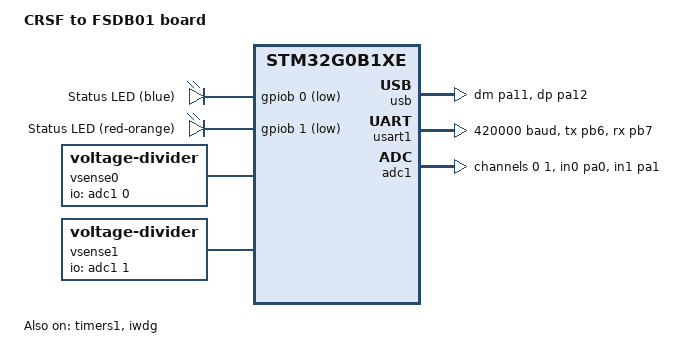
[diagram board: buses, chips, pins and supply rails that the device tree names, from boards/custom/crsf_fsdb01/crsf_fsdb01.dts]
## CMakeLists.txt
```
# SPDX-License-Identifier: Apache-2.0

cmake_minimum_required(VERSION 3.20.0)

# Custom board definitions live in ./boards/<vendor>/<board>
list(APPEND BOARD_ROOT ${CMAKE_CURRENT_SOURCE_DIR})

# Build mode, set by the CMake presets: adds debug.conf or release.conf on top
# of prj.conf, for every board
set(APP_BUILD_MODE release CACHE STRING "Build mode: debug or release")
set_property(CACHE APP_BUILD_MODE PROPERTY STRINGS debug release)
if(NOT APP_BUILD_MODE MATCHES "^(debug|release)$")
  message(FATAL_ERROR "APP_BUILD_MODE must be debug or release, not '${APP_BUILD_MODE}'")
endif()
list(APPEND EXTRA_CONF_FILE ${CMAKE_CURRENT_SOURCE_DIR}/${APP_BUILD_MODE}.conf)

find_package(Zephyr REQUIRED HINTS $ENV{ZEPHYR_BASE})
project(crsf_to_fsdb01)

target_sources(app PRIVATE 
    src/main.cpp
    src/bootloader.cpp
    src/control.cpp
    src/crsf.cpp
    src/crsf_parser.cpp
    src/mapping.cpp
    src/shell_crsf.cpp
    src/shell_dfu.cpp
    src/shell_leds.cpp
    src/shell_voltage.cpp
)

# In-tree drivers; bindings are in dts/bindings, Kconfig in drivers/
add_subdirectory(drivers)
target_include_directories(app PRIVATE drivers/fsdb01)
```

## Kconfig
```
# SPDX-License-Identifier: Apache-2.0

menu "Application drivers"
rsource "drivers/Kconfig"
endmenu

source "Kconfig.zephyr"
```

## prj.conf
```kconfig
# C++23 with the full GNU C++ standard library (no exceptions/RTTI)
CONFIG_CPP=y
CONFIG_STD_CPP23=y
CONFIG_REQUIRES_FULL_LIBCPP=y

CONFIG_GPIO=y
CONFIG_SERIAL=y
# CRSF input is read in the UART ISR
CONFIG_UART_INTERRUPT_DRIVEN=y

# sys_reboot(), used to reboot into the USB DFU bootloader
CONFIG_REBOOT=y

# Logging and CLI
CONFIG_LOG=y
CONFIG_SHELL=y
CONFIG_SHELL_PROMPT_UART="> "

# Disabling some default shell commands
CONFIG_DATE_SHELL=n
CONFIG_SHELL_VT100_COMMANDS=n
CONFIG_SHELL_CMDS_RETURN_VALUE=n
CONFIG_KERNEL_SHELL=n
CONFIG_DEVICE_SHELL=n
CONFIG_DEVMEM_SHELL=n

# USB device stack with CDC ACM as console/shell backend
CONFIG_USB_DEVICE_STACK_NEXT=y
CONFIG_USBD_CDC_ACM_CLASS=y
CONFIG_CDC_ACM_SERIAL_INITIALIZE_AT_BOOT=y
CONFIG_CDC_ACM_SERIAL_MANUFACTURER_STRING="Custom"
CONFIG_CDC_ACM_SERIAL_PRODUCT_STRING="CRSF to FSDB01"
CONFIG_UART_LINE_CTRL=y

# The USB stack logs a warning when Zephyr's test VID/PID is used
CONFIG_USBD_LOG_LEVEL_ERR=y
# CDC ACM can't log to itself when it is the console backend
CONFIG_USBD_CDC_ACM_LOG_LEVEL_OFF=y

# ADC voltage sensing through the voltage-divider sensor driver
CONFIG_ADC=y
CONFIG_SENSOR=y
```

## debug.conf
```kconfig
# Kconfig for debug builds, added on top of prj.conf for every board by
# presets that set APP_BUILD_MODE=debug (see CMakeLists.txt)

# No optimization (-O0). With -Og, one source line often compiles to several
# copies, and each copy needs one of the Cortex-M0+'s only 4 hardware
# breakpoints. At -O0 every line maps to one address.
CONFIG_NO_OPTIMIZATIONS=y
CONFIG_DEBUG_THREAD_INFO=y

# Unoptimized code needs more stack: catch overflows with an MPU stack guard
CONFIG_HW_STACK_PROTECTION=y

# Stacks that overflow at -O0 (default sizes are for optimized code)
CONFIG_UDC_STM32_STACK_SIZE=1024
CONFIG_MAIN_STACK_SIZE=2048
CONFIG_USBD_THREAD_STACK_SIZE=2048
CONFIG_SHELL_STACK_SIZE=3072

# Enable debugging shell commands
CONFIG_SHELL_PROMPT_UART="DBG > "
CONFIG_KERNEL_SHELL=y
CONFIG_DEVICE_SHELL=y
CONFIG_DEVMEM_SHELL=y
CONFIG_SHELL_VT100_COMMANDS=y
```

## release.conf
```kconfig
# Kconfig for release builds, added on top of prj.conf for every board by
# presets that set APP_BUILD_MODE=release (see CMakeLists.txt)
```

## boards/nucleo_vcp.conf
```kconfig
# Extra Kconfig for the nucleo-vcp development build, applied on top of
# prj.conf by the nucleo-vcp preset (EXTRA_CONF_FILE)

# Optimize for debugging (-Og)
CONFIG_DEBUG_OPTIMIZATIONS=y
CONFIG_DEBUG_THREAD_INFO=y
```

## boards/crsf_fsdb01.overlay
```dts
/*
 * SPDX-License-Identifier: Apache-2.0
 */

#include "usb_console.dtsi"
```

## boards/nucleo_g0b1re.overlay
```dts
/*
 * NUCLEO-G0B1RE
 *
 * Console/shell on USB CDC ACM via an external USB connector wired to
 * PA12 = D+ (CN10-12), PA11 = D- (CN10-14) and GND.
 * CRSF link on USART1: PC4 = TX (Arduino D1), PC5 = RX (Arduino D0).
 * FS-DB01 signal out: PA10 (Arduino D2, TIM1_CH3), placeholder.
 * Voltage sense inputs: PA0 (Arduino A0) and PA1 (Arduino A1) on ADC1.
 *
 * SPDX-License-Identifier: Apache-2.0
 */

#include <zephyr/dt-bindings/adc/adc.h>

#include "usb_console.dtsi"

/ {
	/* TODO: placeholder pin, FS-DB01 output not assigned yet */
	fsdb01: fsdb01 {
		compatible = "flysky,fsdb01";
		timer = <&timers1>;
		channel = <3>;
		pinctrl-0 = <&tim1_ch3_pa10>;
		pinctrl-names = "default";
	};

	/* Input voltage dividers: 100k over 33k, ratio 33/133 = 0.248 */
	vsense0: vsense0 {
		compatible = "voltage-divider";
		io-channels = <&adc1 0>;
		output-ohms = <33000>;
		full-ohms = <(100000 + 33000)>;
	};

	vsense1: vsense1 {
		compatible = "voltage-divider";
		io-channels = <&adc1 1>;
		output-ohms = <33000>;
		full-ohms = <(100000 + 33000)>;
	};

	aliases {
		crsf-uart = &usart1;
		fsdb01 = &fsdb01;
		vsense0 = &vsense0;
		vsense1 = &vsense1;
	};
};

&usart1 {
	current-speed = <420000>;
	/* RX FIFO: without it, ISR latency over ~24 us (one byte) overruns */
	fifo-enable;
};

/* Used directly by the FS-DB01 driver; its pwm and counter children stay disabled */
&timers1 {
	status = "okay";
};

/* PA0/PA1 pinctrl, clock and status come from the stock board */
&adc1 {
	#address-cells = <1>;
	#size-cells = <0>;

	/* Max sampling time (160.5 cycles, 10 us): the dividers' source impedance is ~25k */
	channel@0 {
		reg = <0>;
		zephyr,gain = "ADC_GAIN_1";
		zephyr,reference = "ADC_REF_INTERNAL";
		zephyr,acquisition-time = <ADC_ACQ_TIME_MAX>;
		zephyr,resolution = <12>;
	};

	channel@1 {
		reg = <1>;
		zephyr,gain = "ADC_GAIN_1";
		zephyr,reference = "ADC_REF_INTERNAL";
		zephyr,acquisition-time = <ADC_ACQ_TIME_MAX>;
		zephyr,resolution = <12>;
	};
};

/* PA11/PA12 are used by USB; release them from I2C2 and FDCAN1 */
&i2c2 {
	status = "disabled";
};

&fdcan1 {
	status = "disabled";
};
```

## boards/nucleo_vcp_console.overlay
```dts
/*
 * NUCLEO-G0B1RE development option: console and shell on USART2, which is
 * wired to the ST-LINK virtual COM port (PA2/PA3), instead of USB CDC ACM.
 * Applied on top of nucleo_g0b1re.overlay by the nucleo-vcp preset.
 *
 * SPDX-License-Identifier: Apache-2.0
 */

/ {
	chosen {
		zephyr,console = &usart2;
		zephyr,shell-uart = &usart2;
	};
};
```

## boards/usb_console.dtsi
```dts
/*
 * Console and shell over USB CDC ACM on the MCU's own USB pins (PA11/PA12).
 * Included from the per-board overlays.
 *
 * SPDX-License-Identifier: Apache-2.0
 */

/ {
	chosen {
		zephyr,console = &cdc_acm_uart0;
		zephyr,shell-uart = &cdc_acm_uart0;
	};
};

&zephyr_udc0 {
	cdc_acm_uart0: cdc_acm_uart0 {
		compatible = "zephyr,cdc-acm-uart";
	};
};
```

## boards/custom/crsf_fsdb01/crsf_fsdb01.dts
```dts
/*
 * Custom board with STM32G0B1CET6 (LQFP48, 512 KiB flash, 144 KiB RAM)
 *
 * SPDX-License-Identifier: Apache-2.0
 */

/dts-v1/;
#include <st/g0/stm32g0b1Xe.dtsi>
#include <st/g0/stm32g0b1c(b-c-e)tx-pinctrl.dtsi>
#include <zephyr/dt-bindings/adc/adc.h>

/ {
	model = "CRSF to FSDB01 board";
	compatible = "custom,crsf-fsdb01";

	chosen {
		zephyr,sram = &sram0;
		zephyr,flash = &flash0;
	};

	/* Pin assignments match schematic rev. 1 */
	/* Anode to 3V3 through a resistor, cathode sunk by the GPIO */
	leds: leds {
		compatible = "gpio-leds";

		blue_led: led_0 {
			gpios = <&gpiob 0 GPIO_ACTIVE_LOW>;
			label = "Status LED (blue)";
		};

		red_orange_led: led_1 {
			gpios = <&gpiob 1 GPIO_ACTIVE_LOW>;
			label = "Status LED (red-orange)";
		};
	};

	/* FS-DB01 signal on PA8, generated by TIM1 channel 1 */
	fsdb01: fsdb01 {
		compatible = "flysky,fsdb01";
		timer = <&timers1>;
		channel = <1>;
		pinctrl-0 = <&tim1_ch1_pa8>;
		pinctrl-names = "default";
	};

	/* Input voltage dividers: 100k over 33k, ratio 33/133 = 0.248 */
	vsense0: vsense0 {
		compatible = "voltage-divider";
		io-channels = <&adc1 0>;
		output-ohms = <33000>;
		full-ohms = <(100000 + 33000)>;
	};

	vsense1: vsense1 {
		compatible = "voltage-divider";
		io-channels = <&adc1 1>;
		output-ohms = <33000>;
		full-ohms = <(100000 + 33000)>;
	};

	aliases {
		fsdb01 = &fsdb01;
		vsense0 = &vsense0;
		vsense1 = &vsense1;
		led0 = &blue_led;
		led1 = &red_orange_led;
		crsf-uart = &usart1;
		watchdog0 = &iwdg;
	};
};

&clk_lsi {
	status = "okay";
};

&clk_hsi {
	status = "okay";
};

/* No crystal: USB is clocked from HSI48, trimmed against USB SOF by the CRS */
&clk_hsi48 {
	status = "okay";
	crs-usb-sof;
};

/* 64 MHz SYSCLK from the 16 MHz HSI */
&pll {
	div-m = <1>;
	mul-n = <8>;
	div-p = <2>;
	div-q = <2>;
	div-r = <2>;
	clocks = <&clk_hsi>;
	status = "okay";
};

&rcc {
	clocks = <&pll>;
	clock-frequency = <DT_FREQ_M(64)>;
	ahb-prescaler = <1>;
	apb1-prescaler = <1>;
};

zephyr_udc0: &usb {
	pinctrl-0 = <&usb_dm_pa11 &usb_dp_pa12>;
	pinctrl-names = "default";
	status = "okay";
};

/* CRSF link: 420000 baud, 8N1. Only RX (PB7) is wired on the board; PB6 TX is unconnected */
&usart1 {
	pinctrl-0 = <&usart1_tx_pb6 &usart1_rx_pb7>;
	pinctrl-names = "default";
	current-speed = <420000>;
	/* RX FIFO: without it, ISR latency over ~24 us (one byte) overruns */
	fifo-enable;
	status = "okay";
};

/* Voltage sense inputs: PA0 (IN0) and PA1 (IN1); ADC clock 64 MHz / 4 = 16 MHz */
&adc1 {
	pinctrl-0 = <&adc1_in0_pa0 &adc1_in1_pa1>;
	pinctrl-names = "default";
	st,adc-clock-source = "SYNC";
	st,adc-prescaler = <4>;
	status = "okay";
	#address-cells = <1>;
	#size-cells = <0>;

	/* Max sampling time (160.5 cycles, 10 us): the dividers' source impedance is ~25k */
	channel@0 {
		reg = <0>;
		zephyr,gain = "ADC_GAIN_1";
		zephyr,reference = "ADC_REF_INTERNAL";
		zephyr,acquisition-time = <ADC_ACQ_TIME_MAX>;
		zephyr,resolution = <12>;
	};

	channel@1 {
		reg = <1>;
		zephyr,gain = "ADC_GAIN_1";
		zephyr,reference = "ADC_REF_INTERNAL";
		zephyr,acquisition-time = <ADC_ACQ_TIME_MAX>;
		zephyr,resolution = <12>;
	};
};

/* Used directly by the FS-DB01 driver; its pwm and counter children stay disabled */
&timers1 {
	status = "okay";
};

&iwdg {
	status = "okay";
};
```

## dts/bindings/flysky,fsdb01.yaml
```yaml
# SPDX-License-Identifier: Apache-2.0

description: |
  FlySky FS-DB01 LED control module, driven over its proprietary
  single-wire, pulse-width-coded protocol (9-bit frames, 3 ms bit cells).

  The waveform is generated in hardware by an STM32 timer channel in PWM
  mode, so the edges don't depend on interrupt latency. The timer must not
  be used by anything else (keep its pwm and counter child nodes disabled).

  Example:

    fsdb01: fsdb01 {
        compatible = "flysky,fsdb01";
        timer = <&timers1>;
        channel = <3>;
        pinctrl-0 = <&tim1_ch3_pa10>;
        pinctrl-names = "default";
    };

compatible: "flysky,fsdb01"

include: pinctrl-device.yaml

properties:
  timer:
    type: phandle
    required: true
    description: |
      STM32 timer (st,stm32-timers node) that generates the signal. Its
      update interrupt must be named "brk_up_trg_com" (TIM1 on STM32G0).

  channel:
    type: int
    required: true
    enum: [1, 2, 3, 4]
    description: |
      Timer output channel connected to the signal line. pinctrl-0 must
      route this channel to the pin.

  pinctrl-0:
    required: true

  pinctrl-names:
    required: true

  invert:
    type: boolean
    description: |
      Invert every level driven on the line: frames, the inter-frame gap,
      the disabled state and the level at boot. Use this when the signal
      goes through an inverting level shifter.
```

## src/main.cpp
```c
/*
 * SPDX-License-Identifier: Apache-2.0
 */

#include <zephyr/device.h>
#include <zephyr/drivers/gpio.h>
#include <zephyr/kernel.h>
#include <zephyr/logging/log.h>

#include "control.h"
#include "crsf.h"
#include "fsdb01.h"

LOG_MODULE_REGISTER(main, LOG_LEVEL_INF);

namespace {

constexpr gpio_dt_spec led = GPIO_DT_SPEC_GET(DT_ALIAS(led0), gpios);
const device* const crsf_uart = DEVICE_DT_GET(DT_ALIAS(crsf_uart));
const device* const fsdb01 = DEVICE_DT_GET(DT_ALIAS(fsdb01));

}  // namespace

int main() {
    if (!gpio_is_ready_dt(&led) || gpio_pin_configure_dt(&led, GPIO_OUTPUT_ACTIVE) < 0) {
        LOG_ERR("LED not available");
        return 0;
    }

    if (int ret = crsf::start(crsf_uart); ret < 0) {
        LOG_ERR("CRSF on %s failed to start (%d)", crsf_uart->name, ret);
        return 0;
    }

    if (!device_is_ready(fsdb01)) {
        LOG_ERR("FS-DB01 %s not ready", fsdb01->name);
        return 0;
    }
    if (int ret = control::start(fsdb01); ret < 0) {
        LOG_ERR("Control failed to start (%d)", ret);
        return 0;
    }

    LOG_INF("Running on %s, CRSF on %s (C++ %ld)", CONFIG_BOARD_TARGET, crsf_uart->name,
            __cplusplus);

    while (true) {
        gpio_pin_toggle_dt(&led);
        k_msleep(500);
    }
}
```

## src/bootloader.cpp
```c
/*
 * Reboot into the STM32 system bootloader (USB DFU)
 *
 * Jumping straight from the running application would leave clocks, USB and
 * interrupts configured, which the bootloader doesn't expect. Instead, set a
 * marker in RAM that survives a reset, reboot, and jump very early in the next
 * boot, while the chip is still close to its reset state.
 *
 * SPDX-License-Identifier: Apache-2.0
 */

#include "bootloader.h"

#include <cmsis_core.h>
#include <stm32_ll_bus.h>
#include <stm32_ll_system.h>
#include <zephyr/init.h>
#include <zephyr/linker/section_tags.h>
#include <zephyr/sys/reboot.h>

#include <cstdint>

namespace {

// System memory (built-in bootloader) of the STM32G0B1, see RM0444 and AN2606
constexpr uintptr_t system_memory_base = 0x1FFF0000;

constexpr uint32_t bootloader_magic = 0xB007'1DF0;

// Not cleared at startup, so the value survives the reboot
__noinit uint32_t boot_request;

[[noreturn]] void jump_to_system_bootloader() {
    const auto* vectors = reinterpret_cast<const volatile uint32_t*>(system_memory_base);
    uint32_t stack = vectors[0];
    auto entry = reinterpret_cast<void (*)()>(vectors[1]);

    /*
     * Zephyr enables the MPU before PRE_KERNEL_1. Its static regions make flash
     * read-only and SRAM non-executable, so the bootloader would fault on its
     * first flash write.
     */
    MPU->CTRL = 0;
    __DSB();
    __ISB();

    // Map system memory at address 0 and point the vector table at it
    LL_APB2_GRP1_EnableClock(LL_APB2_GRP1_PERIPH_SYSCFG);
    LL_SYSCFG_SetRemapMemory(LL_SYSCFG_REMAP_SYSTEMFLASH);
    SCB->VTOR = system_memory_base;

    /*
     * Restore the reset state of the core: Zephyr runs on PSP with interrupts
     * locked by now. No interrupts are enabled in the NVIC and SysTick isn't
     * running yet, so unmasking is safe.
     */
    __set_MSP(stack);
    __set_CONTROL(0);
    __ISB();
    __enable_irq();

    entry();
    __builtin_unreachable();
}

// Runs before the clock driver (PRE_KERNEL_1, priority 1) reconfigures the clocks
int check_boot_request() {
    if (boot_request == bootloader_magic) {
        boot_request = 0;
        jump_to_system_bootloader();
    }
    return 0;
}

SYS_INIT(check_boot_request, PRE_KERNEL_1, 0);

}  // namespace

void bootloader_reboot() {
    boot_request = bootloader_magic;
    sys_reboot(SYS_REBOOT_WARM);
}
```

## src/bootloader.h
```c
/*
 * Reboot into the STM32 system bootloader (USB DFU)
 *
 * SPDX-License-Identifier: Apache-2.0
 */

#pragma once

/**
 * Reboot into ST's built-in system bootloader. It enumerates on USB as
 * 0483:df11 (DFU), so new firmware can be loaded with dfu-util. Does not
 * return.
 */
[[noreturn]] void bootloader_reboot();
```

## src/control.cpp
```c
/*
 * Control thread: CRSF channels to FS-DB01 frames, with failsafe
 *
 * Polls the latest CRSF status every 10 ms. The FS-DB01 sends a frame every
 * 30 ms and latches the newest one at each frame start, so polling is enough.
 *
 * SPDX-License-Identifier: Apache-2.0
 */

#include "control.h"

#include <zephyr/kernel.h>
#include <zephyr/logging/log.h>
#include <zephyr/sys/atomic.h>

#include "crsf.h"
#include "mapping.h"
#include "thread_constants.h"

LOG_MODULE_REGISTER(control, LOG_LEVEL_INF);

namespace control {

namespace {

constexpr int poll_ms = 10;
constexpr size_t stack_size = kThreadStackSizeDefault;
constexpr int priority = kThreadPriorityHigh;

K_THREAD_STACK_DEFINE(stack, stack_size);
k_thread thread;

const device* output;
atomic_t manual_mode;
atomic_t link_state;

bool channels_fresh(const crsf::Status& status) {
    return status.channels_ticks != 0 &&
           k_ticks_to_ms_floor64(k_uptime_ticks() - status.channels_ticks) < link_timeout_ms;
}

void run(void*, void*, void*) {
    bool was_up = false;

    while (true) {
        const crsf::Status status = crsf::get_status();
        const bool up = channels_fresh(status);

        if (up != was_up) {
            if (up) {
                LOG_INF("Link up");
            } else {
                LOG_WRN("Link lost: no RC frames for %lld ms", link_timeout_ms);
            }
            atomic_set(&link_state, up);
            was_up = up;
        }

        if (!atomic_get(&manual_mode)) {
            uint16_t frame = up ? mapping::map_channels(status.channels, mapping::default_rules())
                                : failsafe_frame;
            fsdb01_set_frame(output, frame);
        }

        k_msleep(poll_ms);
    }
}

}  // namespace

int start(const device* fsdb01) {
    output = fsdb01;

    fsdb01_set_frame(output, failsafe_frame);
    int ret = fsdb01_enable(output);
    if (ret < 0) {
        LOG_ERR("Can't enable FS-DB01 output (%d)", ret);
        return ret;
    }

    k_thread_create(&thread, stack, K_THREAD_STACK_SIZEOF(stack), run, nullptr, nullptr, nullptr,
                    priority, 0, K_NO_WAIT);
    k_thread_name_set(&thread, "control");
    return 0;
}

bool link_up() { return atomic_get(&link_state) != 0; }

void set_manual(bool manual) { atomic_set(&manual_mode, manual); }

bool is_manual() { return atomic_get(&manual_mode) != 0; }

}  // namespace control
```

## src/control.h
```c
/*
 * Control thread: CRSF channels to FS-DB01 frames, with failsafe
 *
 * SPDX-License-Identifier: Apache-2.0
 */

#ifndef CONTROL_H_
#define CONTROL_H_

#include <zephyr/device.h>

#include <cstdint>

#include "fsdb01.h"

namespace control {

/* Sent until RC frames arrive, and after the link is lost */
constexpr uint16_t failsafe_frame = FSDB01_NO_SIGNAL_FAST;

/* Link counts as lost when no RC channels frame has arrived for this long */
constexpr int64_t link_timeout_ms = 500;

/* Start the control thread; enables FS-DB01 output with the failsafe frame */
int start(const device* fsdb01);

bool link_up();

/*
 * In manual mode the control thread stops setting frames, so the leds shell
 * commands can set them by hand.
 */
void set_manual(bool manual);
bool is_manual();

}  // namespace control

#endif /* CONTROL_H_ */
```

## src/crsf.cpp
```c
/*
 * CRSF receiver: reads the ELRS receiver's UART and keeps the latest values
 *
 * Bytes are parsed straight in the UART ISR. Only the latest values matter,
 * so there's no queue: each frame overwrites the stored status.
 *
 * SPDX-License-Identifier: Apache-2.0
 */

#include "crsf.h"

#include <zephyr/drivers/uart.h>
#include <zephyr/kernel.h>
#include <zephyr/logging/log.h>
#include <zephyr/spinlock.h>

#include <array>

LOG_MODULE_REGISTER(crsf, LOG_LEVEL_INF);

namespace crsf {

namespace {

/*
 * Longest time a frame may take before a partial one is dropped, as in
 * Betaflight (CRSF_TIME_NEEDED_PER_FRAME_US). A 64-byte frame takes ~1.5 ms at
 * 420000 baud.
 */
constexpr uint32_t frame_timeout_cycles = k_us_to_cyc_ceil32(1750);

// Only touched from the UART ISR
Parser parser{frame_timeout_cycles};

k_spinlock lock;
// Protected by lock
Status status;

void handle_frame(const Frame& frame) {
    switch (static_cast<FrameType>(frame.type)) {
        case FrameType::rc_channels_packed:
            if (decode_channels(frame.payload, status.channels)) {
                status.channels_ticks = k_uptime_ticks();
                status.counters.rc_frames++;
            } else {
                status.counters.bad_payloads++;
            }
            break;

        case FrameType::link_statistics:
            if (decode_link_statistics(frame.payload, status.link)) {
                status.link_ticks = k_uptime_ticks();
                status.counters.link_frames++;
            } else {
                status.counters.bad_payloads++;
            }
            break;

        default:
            status.counters.other_frames++;
            break;
    }
}

void uart_isr(const device* dev, void*) {
    if (!uart_irq_update(dev)) {
        return;
    }

    K_SPINLOCK(&lock) {
        // Check before reading: reading the data clears the overrun flag
        if (uart_err_check(dev) > 0) {
            status.counters.uart_errors++;
        }

        while (uart_irq_rx_ready(dev)) {
            std::array<uint8_t, 16> buf;
            int len = uart_fifo_read(dev, buf.data(), buf.size());
            if (len <= 0) {
                break;
            }

            status.counters.bytes += len;
            uint32_t now = k_cycle_get_32();
            for (int i = 0; i < len; i++) {
                if (auto frame = parser.feed(buf[i], now)) {
                    handle_frame(*frame);
                }
            }
        }

        status.counters.parser = parser.counters();
    }
}

}  // namespace

int start(const device* uart) {
    if (!device_is_ready(uart)) {
        return -ENODEV;
    }

    int ret = uart_irq_callback_user_data_set(uart, uart_isr, nullptr);
    if (ret < 0) {
        LOG_ERR("Can't set UART callback (%d)", ret);
        return ret;
    }

    uart_irq_err_enable(uart);
    uart_irq_rx_enable(uart);
    return 0;
}

Status get_status() {
    Status copy;
    K_SPINLOCK(&lock) { copy = status; }
    return copy;
}

}  // namespace crsf
```

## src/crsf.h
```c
/*
 * CRSF receiver: reads the ELRS receiver's UART and keeps the latest values
 *
 * SPDX-License-Identifier: Apache-2.0
 */

#ifndef CRSF_H_
#define CRSF_H_

#include <zephyr/device.h>

#include <cstdint>

#include "crsf_parser.h"

namespace crsf {

struct Counters {
    // Bytes received on the UART
    uint32_t bytes;
    // UART errors (overrun, framing, noise, ...)
    uint32_t uart_errors;
    // Valid frames, by type
    uint32_t rc_frames;
    uint32_t link_frames;
    uint32_t other_frames;
    // Valid CRC, but the payload doesn't fit the frame type
    uint32_t bad_payloads;
    ParserCounters parser;
};

// A consistent copy of everything received so far
struct Status {
    // Raw 11-bit values from the latest RC channels frame
    Channels channels;
    // k_uptime_ticks() when it arrived; 0 if none has
    int64_t channels_ticks;

    LinkStatistics link;
    // k_uptime_ticks() when the latest link statistics frame arrived; 0 if none has
    int64_t link_ticks;

    Counters counters;
};

/*
 * Start receiving on the CRSF UART. Needs CONFIG_UART_INTERRUPT_DRIVEN. Frames
 * are parsed in the UART ISR.
 */
int start(const device* uart);

// Callable from any context
Status get_status();

}  // namespace crsf

#endif  // CRSF_H_
```

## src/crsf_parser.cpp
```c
/*
 * CRSF (Crossfire / ExpressLRS) frame parser
 *
 * SPDX-License-Identifier: Apache-2.0
 */

#include "crsf_parser.h"

namespace crsf {

namespace {

constexpr uint8_t crc_polynomial = 0xD5;
constexpr unsigned int channel_bits = 11;
constexpr uint32_t channel_mask = (1U << channel_bits) - 1;

constexpr std::array<uint8_t, 256> crc_table = [] {
    std::array<uint8_t, 256> table{};
    for (unsigned int i = 0; i < table.size(); i++) {
        uint8_t crc = i;
        for (int bit = 0; bit < 8; bit++) {
            crc = (crc & 0x80) ? (crc << 1) ^ crc_polynomial : crc << 1;
        }
        table[i] = crc;
    }
    return table;
}();

}  // namespace

uint8_t crc8(std::span<const uint8_t> data) {
    uint8_t crc = 0;
    for (uint8_t byte : data) {
        crc = crc_table[crc ^ byte];
    }
    return crc;
}

bool decode_channels(std::span<const uint8_t> payload, Channels& channels) {
    if (payload.size() != rc_channels_payload_size) {
        return false;
    }

    // 16 x 11 bits = 22 bytes exactly, channel 0 in the lowest bits
    uint32_t acc = 0;
    unsigned int bits = 0;
    auto in = payload.begin();
    for (uint16_t& channel : channels) {
        while (bits < channel_bits) {
            acc |= uint32_t{*in++} << bits;
            bits += 8;
        }
        channel = acc & channel_mask;
        acc >>= channel_bits;
        bits -= channel_bits;
    }
    return true;
}

bool decode_link_statistics(std::span<const uint8_t> payload, LinkStatistics& stats) {
    if (payload.size() < link_statistics_payload_size) {
        return false;
    }

    stats = {
        .uplink_rssi_1 = payload[0],
        .uplink_rssi_2 = payload[1],
        .uplink_lq = payload[2],
        .uplink_snr = static_cast<int8_t>(payload[3]),
        .active_antenna = payload[4],
        .rf_mode = payload[5],
        .uplink_tx_power = payload[6],
        .downlink_rssi = payload[7],
        .downlink_lq = payload[8],
        .downlink_snr = static_cast<int8_t>(payload[9]),
    };
    return true;
}

int channel_to_us(uint16_t value) {
    // Linear through (172, 988) and (1811, 2012), rounded to nearest
    constexpr int span_value = channel_max - channel_min;
    constexpr int span_us = 2012 - 988;
    int n = (value - channel_min) * span_us;
    int rounding = (n >= 0 ? span_value : -span_value) / 2;
    return 988 + (n + rounding) / span_value;
}

std::optional<Frame> Parser::feed(uint8_t byte, uint32_t now) {
    if (pos_ > 0 && now - frame_start_ > frame_timeout_) {
        counters_.timeouts++;
        pos_ = 0;
    }

    if (pos_ == 0) {
        if (byte != sync_byte) {
            return std::nullopt;
        }
        frame_start_ = now;
    } else if (pos_ == 1 && (byte < min_length || byte > max_length)) {
        counters_.length_errors++;
        pos_ = 0;
        return std::nullopt;
    }

    buf_[pos_++] = byte;
    if (pos_ < 2 || pos_ < size_t{buf_[1]} + 2) {
        return std::nullopt;
    }

    // Complete: [sync] [len] [type] [payload ...] [crc]; the CRC covers type + payload
    pos_ = 0;
    const size_t length = buf_[1];
    const auto checked = std::span<const uint8_t>(buf_).subspan(2, length - 1);
    if (crc8(checked) != buf_[length + 1]) {
        counters_.crc_errors++;
        return std::nullopt;
    }

    counters_.frames++;
    return Frame{.type = checked[0], .payload = checked.subspan(1)};
}

}  // namespace crsf
```

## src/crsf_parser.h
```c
/*
 * CRSF (Crossfire / ExpressLRS) frame parser
 *
 * Pure protocol code, no Zephyr dependencies: bytes in, CRC-checked frames
 * out. See README, "Input: CRSF from an ELRS receiver".
 *
 * SPDX-License-Identifier: Apache-2.0
 */

#ifndef CRSF_PARSER_H_
#define CRSF_PARSER_H_

#include <array>
#include <cstddef>
#include <cstdint>
#include <optional>
#include <span>

namespace crsf {

// Sync byte sent by the receiver: the flight controller address
constexpr uint8_t sync_byte = 0xC8;

// The length byte counts type + payload + CRC
constexpr uint8_t min_length = 2;
constexpr uint8_t max_length = 62;
constexpr size_t max_frame_size = max_length + 2;

enum class FrameType : uint8_t {
    link_statistics = 0x14,
    rc_channels_packed = 0x16,
};

constexpr size_t num_channels = 16;
constexpr size_t rc_channels_payload_size = 22;
constexpr size_t link_statistics_payload_size = 10;

// Nominal channel range (988-2012 us), with 992 at center (1500 us)
constexpr uint16_t channel_min = 172;
constexpr uint16_t channel_mid = 992;
constexpr uint16_t channel_max = 1811;

using Channels = std::array<uint16_t, num_channels>;

// Link statistics frame (0x14), as sent by the receiver
struct LinkStatistics {
    // RSSI values are dBm with the sign dropped: 70 means -70 dBm
    uint8_t uplink_rssi_1;
    uint8_t uplink_rssi_2;
    // Link quality, 0-100 %
    uint8_t uplink_lq;
    // dB
    int8_t uplink_snr;
    uint8_t active_antenna;
    uint8_t rf_mode;
    // Transmitter power, as an index into the CRSF power table
    uint8_t uplink_tx_power;
    uint8_t downlink_rssi;
    uint8_t downlink_lq;
    int8_t downlink_snr;
};

// A received frame; payload points into the parser's buffer
struct Frame {
    uint8_t type;
    std::span<const uint8_t> payload;
};

// CRC8 with the DVB-S2 polynomial 0xD5, initial value 0
uint8_t crc8(std::span<const uint8_t> data);

// Unpack 16 little-endian 11-bit channels; false if the payload size is wrong
bool decode_channels(std::span<const uint8_t> payload, Channels& channels);

// False if the payload is too short
bool decode_link_statistics(std::span<const uint8_t> payload, LinkStatistics& stats);

// Channel value to microseconds, as ELRS maps it: 172 = 988 us, 1811 = 2012 us
int channel_to_us(uint16_t value);

struct ParserCounters {
    uint32_t frames;
    uint32_t crc_errors;
    uint32_t length_errors;
    // Partial frames dropped because the rest didn't arrive in time
    uint32_t timeouts;
};

class Parser {
public:
    /*
     * frame_timeout: the longest time a frame may take, in the units of the
     * `now` passed to feed(). After that, a partial frame is dropped.
     */
    explicit constexpr Parser(uint32_t frame_timeout)
        : frame_timeout_(frame_timeout) {}

    /*
     * Feed one received byte. now is a free-running timestamp; wraparound is
     * fine. Returns a frame once its CRC checks out. The frame's payload is
     * valid until the next call.
     */
    std::optional<Frame> feed(uint8_t byte, uint32_t now);

    const ParserCounters& counters() const { return counters_; }

private:
    uint32_t frame_timeout_;
    uint32_t frame_start_ = 0;
    size_t pos_ = 0;
    std::array<uint8_t, max_frame_size> buf_{};
    ParserCounters counters_{};
};

}  // namespace crsf

#endif  // CRSF_PARSER_H_
```

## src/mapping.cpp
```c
/*
 * CRSF channels to FS-DB01 frame mapping
 *
 * SPDX-License-Identifier: Apache-2.0
 */

#include "mapping.h"

#include <array>

#include "fsdb01.h"

namespace mapping {

namespace {

// Hardcoded for now; later configurable from the shell and stored in flash
constexpr std::array rules{
    // 3-position switch on ch5: low = left, high = right
    Rule{.channel = 2, .min_us = kMaxValue - 100, .max_us = kMaxValue, .output = FSDB01_TURN_LEFT},
    Rule{.channel = 2, .min_us = kMinValue, .max_us = kMinValue + 100, .output = FSDB01_TURN_RIGHT},
    // 3-position switch on ch6: mid = step 1, high = steps 1 and 2
    Rule{.channel = 5, .min_us = 900, .max_us = 1400, .output = FSDB01_FRONT_AND_TOP},
    // Throttle near center
    Rule{.channel = 1, .min_us = 1400, .max_us = 1600, .output = FSDB01_REVERSE_BRAKE},
};

}  // namespace

std::span<const Rule> default_rules() { return rules; }

uint16_t map_channels(const crsf::Channels& channels, std::span<const Rule> rules) {
    uint16_t frame = 0;
    for (const Rule& rule : rules) {
        if (rule.channel < 1 || rule.channel > channels.size()) {
            continue;
        }

        int us = crsf::channel_to_us(channels[rule.channel - 1]);
        if (us >= rule.min_us && us <= rule.max_us) {
            frame |= rule.output;
        }
    }
    return frame;
}

}  // namespace mapping
```

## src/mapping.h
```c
/*
 * CRSF channels to FS-DB01 frame mapping
 *
 * Each rule turns one FS-DB01 output on while one CRSF channel is inside an
 * interval. An output is on if any of its rules match.
 *
 * SPDX-License-Identifier: Apache-2.0
 */

#ifndef MAPPING_H_
#define MAPPING_H_

#include <cstdint>
#include <span>

#include "crsf_parser.h"

namespace mapping {

constexpr uint16_t kMaxValue = 2012;
constexpr uint16_t kMinValue = 988;

struct Rule {
    // CRSF channel, 1-16 as numbered on the radio
    uint8_t channel;
    // Inclusive interval in us (see crsf::channel_to_us())
    uint16_t min_us;
    uint16_t max_us;
    // FS-DB01 frame bits to turn on (FSDB01_* flags)
    uint16_t output;
};

// The rules used until they're configurable
std::span<const Rule> default_rules();

// FS-DB01 frame for the given channels; rules with an invalid channel never match
uint16_t map_channels(const crsf::Channels& channels, std::span<const Rule> rules);

}  // namespace mapping

#endif /* MAPPING_H_ */
```

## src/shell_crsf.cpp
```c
/*
 * Shell commands for inspecting the CRSF input
 *
 * SPDX-License-Identifier: Apache-2.0
 */

#include <zephyr/kernel.h>
#include <zephyr/shell/shell.h>

#include <cstdint>

#include "crsf.h"

namespace {

// Prints the age of a timestamp from crsf::Status, or "never"
void print_age(const shell* sh, const char* what, int64_t ticks) {
    if (ticks == 0) {
        shell_print(sh, "%-17s never", what);
        return;
    }
    shell_print(sh, "%-17s %lld ms ago", what, k_ticks_to_ms_floor64(k_uptime_ticks() - ticks));
}

int cmd_status(const shell* sh, size_t, char**) {
    const crsf::Status status = crsf::get_status();
    const crsf::Counters& c = status.counters;

    print_age(sh, "RC channels:", status.channels_ticks);
    print_age(sh, "Link statistics:", status.link_ticks);
    shell_print(sh, "Bytes: %u   UART errors: %u", c.bytes, c.uart_errors);
    shell_print(sh, "Frames: %u (RC %u, link %u, other %u)", c.parser.frames, c.rc_frames,
                c.link_frames, c.other_frames);
    shell_print(sh, "Errors: CRC %u, length %u, timeout %u, payload %u", c.parser.crc_errors,
                c.parser.length_errors, c.parser.timeouts, c.bad_payloads);

    if (status.link_ticks != 0) {
        const crsf::LinkStatistics& l = status.link;
        shell_print(sh, "Uplink:   RSSI -%u/-%u dBm (antenna %u), LQ %u %%, SNR %d dB, power %u",
                    l.uplink_rssi_1, l.uplink_rssi_2, l.active_antenna, l.uplink_lq, l.uplink_snr,
                    l.uplink_tx_power);
        shell_print(sh, "Downlink: RSSI -%u dBm, LQ %u %%, SNR %d dB   RF mode %u", l.downlink_rssi,
                    l.downlink_lq, l.downlink_snr, l.rf_mode);
    }
    return 0;
}

int cmd_channels(const shell* sh, size_t, char**) {
    const crsf::Status status = crsf::get_status();

    print_age(sh, "RC channels:", status.channels_ticks);
    if (status.channels_ticks == 0) {
        return 0;
    }

    for (size_t i = 0; i < status.channels.size(); i++) {
        uint16_t value = status.channels[i];
        shell_print(sh, "  ch%-2u  %4u  %4d us", i + 1, value, crsf::channel_to_us(value));
    }
    return 0;
}

}  // namespace

// Shell macros expand to `cond ? arg : NULL`, so pass NULL rather than nullptr
SHELL_STATIC_SUBCMD_SET_CREATE(
    sub_crsf,
    SHELL_CMD(status, NULL, "Show frame counters, errors and link statistics", cmd_status),
    SHELL_CMD(channels, NULL, "Show the latest RC channel values", cmd_channels),
    SHELL_SUBCMD_SET_END);

SHELL_CMD_REGISTER(crsf, &sub_crsf, "CRSF input commands", NULL);
```

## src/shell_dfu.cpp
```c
/*
 * Shell command to reboot into the USB DFU bootloader
 *
 * SPDX-License-Identifier: Apache-2.0
 */

#include <zephyr/kernel.h>
#include <zephyr/shell/shell.h>

#include "bootloader.h"

namespace {

int cmd_dfu(const shell* sh, size_t, char**) {
    shell_print(sh, "Rebooting into the USB DFU bootloader (0483:df11)");
    // Give the message time to reach the host before USB disconnects
    k_msleep(100);
    bootloader_reboot();
}

}  // namespace

SHELL_CMD_REGISTER(dfu, NULL, "Reboot into the USB DFU bootloader", cmd_dfu);
```
